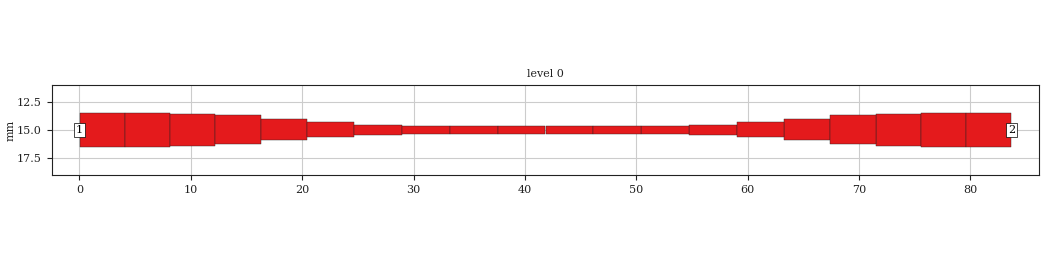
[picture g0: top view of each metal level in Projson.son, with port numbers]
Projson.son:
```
FTYP SONPROJ 19 ! Sonnet Project File
VER 18.53
HEADER
LIC SL68dd62c5
DAT 12/04/2025 20:26:22
BUILT_BY_CREATED xgeom 18.53-Lite 11/30/2025 18:08:39
BUILT_BY_SAVED sonnet 18.53-Lite
MDATE 12/04/2025 20:26:22
HDATE 12/04/2025 20:26:22
END HEADER
DIM
ANG DEG
CAP PF
CON /OH
FREQ GHZ
IND NH
LNG MM
RES OH
END DIM
CONTROL
VARSWP
OPTIONS  -d
SPEED 0
CACHE_ABS 2
Q_ACC N
END CONTROL
GEO
SYM
TMET "Lossless" 0 SUP 0 0 0 0
BMET "Lossless" 0 SUP 0 0 0 0
BOX 1 83.7 30 3348 1200 20 0
      30 1 1 0 0 0 0 "Substrate"
      1.6 4.4 1 0.02 0 0 0 "FR-4"
TECHLAY METAL Metal1 <UNSPECIFIED> -2 -65534 
1 0 -1 N 323 1 1 100 100 0 0 0 Y
END
END
LORGN 0 30 U 
POR1 BOX
POLY 472 1
3
1 50 0 0 0 0.002977109551 15.00570794 
POR1 BOX
POLY 529 1
3
2 50 0 0 0 83.702023 15.005708 
NUM 20
0 5 -1 N 472 1 1 100 100 0 0 0 Y
0.002977109551 13.48070794
4.05297711 13.48070794
4.05297711 16.53070794
0.002977109551 16.53070794
0.002977109551 13.48070794
END
0 5 -1 N 477 1 1 100 100 0 0 0 Y
4.05 13.48
8.1 13.48
8.1 16.53
4.05 16.53
4.05 13.48
END
0 5 -1 N 479 1 1 100 100 0 0 0 Y
8.1 13.56
12.2 13.56
12.2 16.46
8.1 16.46
8.1 13.56
END
0 5 -1 N 480 1 1 100 100 0 0 0 Y
12.2 13.7
16.3 13.7
16.3 16.3
12.2 16.3
12.2 13.7
END
0 5 -1 N 481 1 1 100 100 0 0 0 Y
16.3 13.98
20.45 13.98
20.45 15.93
16.3 15.93
16.3 13.98
END
0 5 -1 N 482 1 1 100 100 0 0 0 Y
20.45 14.31
24.65 14.31
24.65 15.61
20.45 15.61
20.45 14.31
END
0 5 -1 N 483 1 1 100 100 0 0 0 Y
24.65 14.52
28.95 14.52
28.95 15.42
24.65 15.42
24.65 14.52
END
0 5 -1 N 484 1 1 100 100 0 0 0 Y
28.95 14.62
33.25 14.62
33.25 15.32
28.95 15.32
28.95 14.62
END
0 5 -1 N 485 1 1 100 100 0 0 0 Y
33.25 14.62
37.55 14.62
37.55 15.32
33.25 15.32
33.25 14.62
END
0 5 -1 N 486 1 1 100 100 0 0 0 Y
37.55 14.62
41.85 14.62
41.85 15.32
37.55 15.32
37.55 14.62
END
0 5 -1 N 521 1 1 100 100 0 0 0 Y
67.405 13.98
63.255 13.98
63.255 15.93
67.405 15.93
67.405 13.98
END
0 5 -1 N 522 1 1 100 100 0 0 0 Y
59.055 14.52
54.755 14.52
54.755 15.42
59.055 15.42
59.055 14.52
END
0 5 -1 N 523 1 1 100 100 0 0 0 Y
54.755 14.62
50.455 14.62
50.455 15.32
54.755 15.32
54.755 14.62
END
0 5 -1 N 524 1 1 100 100 0 0 0 Y
75.605 13.56
71.505 13.56
71.505 16.46
75.605 16.46
75.605 13.56
END
0 5 -1 N 525 1 1 100 100 0 0 0 Y
46.155 14.62
41.855 14.62
41.855 15.32
46.155 15.32
46.155 14.62
END
0 5 -1 N 526 1 1 100 100 0 0 0 Y
79.655 13.48
75.605 13.48
75.605 16.53
79.655 16.53
79.655 13.48
END
0 5 -1 N 527 1 1 100 100 0 0 0 Y
50.455 14.62
46.155 14.62
46.155 15.32
50.455 15.32
50.455 14.62
END
0 5 -1 N 528 1 1 100 100 0 0 0 Y
63.255 14.31
59.055 14.31
59.055 15.61
63.255 15.61
63.255 14.31
END
0 5 -1 N 529 1 1 100 100 0 0 0 Y
83.702023 13.480708
79.652023 13.480708
79.652023 16.530708
83.702023 16.530708
83.702023 13.480708
END
0 5 -1 N 531 1 1 100 100 0 0 0 Y
71.505 13.7
67.405 13.7
67.405 16.3
71.505 16.3
71.505 13.7
END
END GEO
OPT
MAX 100
END OPT
VARSWP
ENABLED Y
FREQ Y AY SWEEP 0.0 8.0 0.2
END
END VARSWP
```
